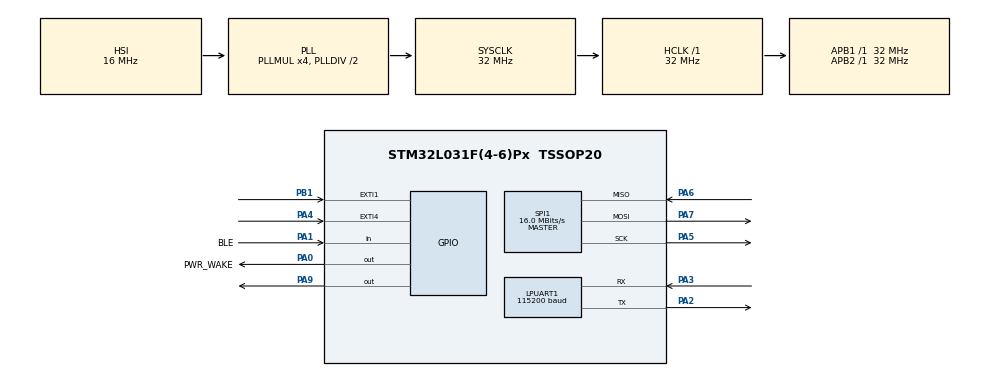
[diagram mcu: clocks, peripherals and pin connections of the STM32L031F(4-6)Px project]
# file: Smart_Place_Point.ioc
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LPUART1.BaudRate=115200
LPUART1.WordLength=UART_WORDLENGTH_8B
Mcu.Family=STM32L0
Mcu.Name=STM32L031F(4-6)Px
Mcu.Package=TSSOP20
PA0-CK_IN.GPIO_Label=PWR_WAKE
PA0-CK_IN.GPIO_ModeDefaultOutputPP=GPIO_MODE_OUTPUT_OD
PA0-CK_IN.GPIO_PuPd=GPIO_NOPULL
PA0-CK_IN.PinState=GPIO_PIN_SET
PA0-CK_IN.Signal=GPIO_Output
PA1.GPIO_Label=BLE
PA1.Signal=GPIO_Input
PA13.Mode=Serial_Wire
PA13.Signal=SYS_SWDIO
PA14.Mode=Serial_Wire
PA14.Signal=SYS_SWCLK
PA2.Mode=Asynchronous
PA2.Signal=LPUART1_TX
PA3.Mode=Asynchronous
PA3.Signal=LPUART1_RX
PA4.Signal=GPXTI4
PA5.Mode=Full_Duplex_Master
PA5.Signal=SPI1_SCK
PA6.Mode=Full_Duplex_Master
PA6.Signal=SPI1_MISO
PA7.Mode=Full_Duplex_Master
PA7.Signal=SPI1_MOSI
PA9.Signal=GPIO_Output
PB1.Signal=GPXTI1
ProjectManager.HeapSize=0x200
ProjectManager.StackSize=0x400
ProjectManager.TargetToolchain=MDK-ARM V5.32
RCC.AHBFreq_Value=32000000
RCC.APB1Freq_Value=32000000
RCC.APB1TimFreq_Value=32000000
RCC.APB2Freq_Value=32000000
RCC.APB2TimFreq_Value=32000000
RCC.HCLKFreq_Value=32000000
RCC.HSE_VALUE=8000000
RCC.HSI16_VALUE=16000000
RCC.HSI_VALUE=16000000
RCC.LSE_VALUE=32768
RCC.MSI_VALUE=2097000
RCC.PLLMUL=RCC_PLLMUL_4
RCC.SYSCLKFreq_VALUE=32000000
RCC.SYSCLKSource=RCC_SYSCLKSOURCE_PLLCLK
RCC.VCOOutputFreq_Value=64000000
SPI1.CalculateBaudRate=16.0 MBits/s
SPI1.Direction=SPI_DIRECTION_2LINES
SPI1.Mode=SPI_MODE_MASTER
SPI1.VirtualType=VM_MASTER
board=custom

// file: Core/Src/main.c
/* USER CODE BEGIN Header */
/**
  ******************************************************************************
  * @file           : main.c
  * @brief          : Main program body
  ******************************************************************************
  * @attention
  *
  * Copyright (c) 2026 STMicroelectronics.
  * All rights reserved.
  *
  * This software is licensed under terms that can be found in the LICENSE file
  * in the root directory of this software component.
  * If no LICENSE file comes with this software, it is provided AS-IS.
  *
  ******************************************************************************
  */
/* USER CODE END Header */
#include "main.h"
#include "usart.h"
#include "spi.h"
#include "gpio.h"

/* USER CODE BEGIN Includes */
#include <stdint.h>
/* USER CODE END Includes */

/* USER CODE BEGIN PTD */

typedef enum
{
  PWR_WAKE_STATE_IDLE = 0,
  PWR_WAKE_STATE_LOW
} PWR_WAKE_State_t;

/* USER CODE END PTD */

/* USER CODE BEGIN PD */

#define PWR_WAKE_PERIOD_MS   10000U
#define PWR_WAKE_LOW_TIME_MS 1000U
#define ICM_DRDY_POLL_INTERVAL_MS 10U

/* USER CODE END PD */

/* USER CODE BEGIN PV */

/* ICM 数据就绪标志, 由 EXTI4 回调置位, 主循环消费 */
static volatile uint8_t g_icm_data_ready = 0;
static volatile uint32_t g_icm_exti_count = 0U;
static volatile uint32_t g_icm_poll_ready_count = 0U;

static PWR_WAKE_State_t g_pwr_wake_state = PWR_WAKE_STATE_IDLE;
static uint32_t g_pwr_wake_last_pulse_ms = 0U;
static uint32_t g_icm_last_drdy_poll_ms = 0U;

/* USER CODE END PV */

void SystemClock_Config(void);
/* USER CODE BEGIN PFP */

static void PWR_WAKE_PulseTimerInit(void);
static void PWR_WAKE_PulseTimerTask(void);

/* USER CODE END PFP */

/* USER CODE BEGIN 0 */

/**
  * @brief  GPIO EXTI 回调 (HAL 弱定义的覆盖)
  * @note   PA4 = ICM INT1 数据就绪
  *         PB1 = 你保留的另一路外部中断, 这里仅留接口
  */
void HAL_GPIO_EXTI_Callback(uint16_t GPIO_Pin)
{
  if (GPIO_Pin == GPIO_PIN_4)
  {
    g_icm_data_ready = 1;
    g_icm_exti_count++;
  }
  else if (GPIO_Pin == GPIO_PIN_1)
  {
    /* 预留: PB1 EXTI1 用户中断 */
  }
}

static void PWR_WAKE_PulseTimerInit(void)
{
  HAL_GPIO_WritePin(PWR_WAKE_GPIO_Port, PWR_WAKE_Pin, GPIO_PIN_SET);
  g_pwr_wake_state = PWR_WAKE_STATE_IDLE;
  g_pwr_wake_last_pulse_ms = HAL_GetTick();
}

static void PWR_WAKE_PulseTimerTask(void)
{
  uint32_t now_ms = HAL_GetTick();

  if (g_pwr_wake_state == PWR_WAKE_STATE_IDLE)
  {
    if ((uint32_t)(now_ms - g_pwr_wake_last_pulse_ms) >= PWR_WAKE_PERIOD_MS)
    {
      HAL_GPIO_WritePin(PWR_WAKE_GPIO_Port, PWR_WAKE_Pin, GPIO_PIN_RESET);
      g_pwr_wake_state = PWR_WAKE_STATE_LOW;
      g_pwr_wake_last_pulse_ms = now_ms;
    }
  }
  else
  {
    if ((uint32_t)(now_ms - g_pwr_wake_last_pulse_ms) >= PWR_WAKE_LOW_TIME_MS)
    {
      HAL_GPIO_WritePin(PWR_WAKE_GPIO_Port, PWR_WAKE_Pin, GPIO_PIN_SET);
      g_pwr_wake_state = PWR_WAKE_STATE_IDLE;
    }
  }
}

/* USER CODE END 0 */

int main(void)
{

  /* MCU Configuration--------------------------------------------------------*/

  /* Reset of all peripherals, Initializes the Flash interface and the Systick. */
  HAL_Init();

  /* Configure the system clock */
  SystemClock_Config();

  /* Initialize all configured peripherals */
  MX_GPIO_Init();
  MX_LPUART1_UART_Init();
  MX_SPI1_Init();
  /* USER CODE BEGIN 2 */

  /* ICM-42688-P CS 空闲应为高电平，避免后续 BLE 初始化期间片选有效 */
  HAL_GPIO_WritePin(ICM_CS_PORT, ICM_CS_PIN, GPIO_PIN_SET);

  PWR_WAKE_PulseTimerInit();
  g_icm_last_drdy_poll_ms = HAL_GetTick();

  /* 初始化 VG6328A-MS BLE 从机透传配置 */
  (void)VG6328A_BLE_Init();

  /* 初始化 ICM-42688-P; 失败则进入错误处理 */
  if (ICM42688P_Init() != HAL_OK)
  {
    Error_Handler();
  }

  /* 使能 PA4 EXTI4 中断 (ICM INT1 数据就绪) */
  MX_ICM_INT_NVIC_Enable();

  /* USER CODE END 2 */

  /* Infinite loop */
  while (1)
  {

    /* USER CODE BEGIN 3 */
    PWR_WAKE_PulseTimerTask();

    if ((g_icm_data_ready == 0U) &&
        ((uint32_t)(HAL_GetTick() - g_icm_last_drdy_poll_ms) >= ICM_DRDY_POLL_INTERVAL_MS))
    {
      g_icm_last_drdy_poll_ms = HAL_GetTick();
      if (ICM42688P_IsDataReady() != 0U)
      {
        g_icm_data_ready = 1U;
        g_icm_poll_ready_count++;
      }
    }

    if (g_icm_data_ready)
    {
      ICM42688P_RawData_t raw;

      g_icm_data_ready = 0;

      if (ICM42688P_ReadRaw(&raw) == HAL_OK)
      {
        LPUART1_SendFrame(&raw);
      }
    }
  }
  /* USER CODE END 3 */
}

void SystemClock_Config(void)
{
  RCC_OscInitTypeDef RCC_OscInitStruct = {0};
  RCC_ClkInitTypeDef RCC_ClkInitStruct = {0};
  RCC_PeriphCLKInitTypeDef PeriphClkInit = {0};

  /** Configure the main internal regulator output voltage
  */
  __HAL_PWR_VOLTAGESCALING_CONFIG(PWR_REGULATOR_VOLTAGE_SCALE1);

  /** Initializes the RCC Oscillators according to the specified parameters
  * in the RCC_OscInitTypeDef structure.
  */
  RCC_OscInitStruct.OscillatorType = RCC_OSCILLATORTYPE_HSI;
  RCC_OscInitStruct.HSIState = RCC_HSI_ON;
  RCC_OscInitStruct.HSICalibrationValue = RCC_HSICALIBRATION_DEFAULT;
  RCC_OscInitStruct.PLL.PLLState = RCC_PLL_ON;
  RCC_OscInitStruct.PLL.PLLSource = RCC_PLLSOURCE_HSI;
  RCC_OscInitStruct.PLL.PLLMUL = RCC_PLLMUL_4;
  RCC_OscInitStruct.PLL.PLLDIV = RCC_PLLDIV_2;
  if (HAL_RCC_OscConfig(&RCC_OscInitStruct) != HAL_OK)
  {
    Error_Handler();
  }

  /** Initializes the CPU, AHB and APB buses clocks
  */
  RCC_ClkInitStruct.ClockType = RCC_CLOCKTYPE_HCLK|RCC_CLOCKTYPE_SYSCLK
                              |RCC_CLOCKTYPE_PCLK1|RCC_CLOCKTYPE_PCLK2;
  RCC_ClkInitStruct.SYSCLKSource = RCC_SYSCLKSOURCE_PLLCLK;
  RCC_ClkInitStruct.AHBCLKDivider = RCC_SYSCLK_DIV1;
  RCC_ClkInitStruct.APB1CLKDivider = RCC_HCLK_DIV1;
  RCC_ClkInitStruct.APB2CLKDivider = RCC_HCLK_DIV1;

  if (HAL_RCC_ClockConfig(&RCC_ClkInitStruct, FLASH_LATENCY_1) != HAL_OK)
  {
    Error_Handler();
  }
  PeriphClkInit.PeriphClockSelection = RCC_PERIPHCLK_LPUART1;
  PeriphClkInit.Lpuart1ClockSelection = RCC_LPUART1CLKSOURCE_PCLK1;
  if (HAL_RCCEx_PeriphCLKConfig(&PeriphClkInit) != HAL_OK)
  {
    Error_Handler();
  }
}

void Error_Handler(void)
{
  __disable_irq();
  while (1)
  {
  }
}
